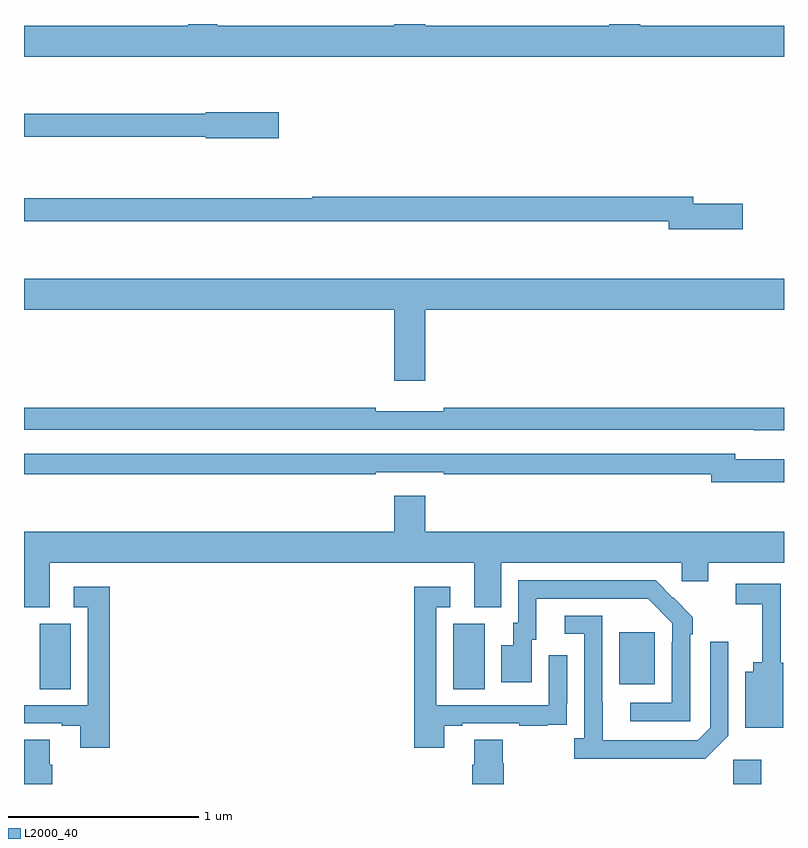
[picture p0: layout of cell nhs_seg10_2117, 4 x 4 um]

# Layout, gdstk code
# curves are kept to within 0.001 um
import gdstk
lib = gdstk.Library(unit=1e-6, precision=1e-09)
def R(c, l, rs):  # rectangles x0, y0, x1, y1
    for r in rs: c.add(gdstk.rectangle(r[:2], r[2:], *l))
def P(c, l, *ps):  # polygons
    for p in ps: c.add(gdstk.Polygon(p, *l))
L2000_40 = (2000, 40)

nhs_seg10_2117 = lib.new_cell('nhs_seg10_2117')
R(nhs_seg10_2117, L2000_40, [(226.734,1284.5,226.881,1284.628), (223.082,1285,223.246,1285.344), (225.26,1285,225.424,1285.344), (226.133,1285.025,226.321,1285.3)])
P(nhs_seg10_2117, L2000_40, [(227,1288.492),(226.244,1288.492),(226.244,1288.5),(226.079,1288.5),(226.079,1288.492),(225.112,1288.492),(225.112,1288.5),(224.948,1288.5),(224.948,1288.492),(224.018,1288.492),(224.018,1288.5),(223.865,1288.5),(223.865,1288.492),(223,1288.492),(223,1288.328),(227,1288.328)],
  [(224.341,1288.035),(223.956,1288.035),(223.956,1288.027),(223,1288.027),(223,1287.906),(223.956,1287.906),(223.956,1287.898),(224.341,1287.898)],
  [(226.783,1287.554),(226.522,1287.554),(226.522,1287.59),(224.518,1287.59),(224.518,1287.583),(223,1287.583),(223,1287.462),(226.394,1287.462),(226.394,1287.419),(226.783,1287.419)],
  [(225.112,1286.996),(227,1286.996),(227,1287.16),(223,1287.16),(223,1286.996),(224.948,1286.996),(224.948,1286.622),(225.112,1286.622)],
  [(227,1286.48),(225.208,1286.48),(225.208,1286.461),(224.852,1286.461),(224.852,1286.48),(223,1286.48),(223,1286.364),(226.84,1286.364),(226.84,1286.363),(227,1286.363)],
  [(227,1286.209),(226.744,1286.209),(226.744,1286.238),(223,1286.238),(223,1286.13),(224.852,1286.13),(224.852,1286.142),(225.208,1286.142),(225.208,1286.13),(226.616,1286.13),(226.616,1286.087),(227,1286.087)],
  [(223.135,1285.664),(225.371,1285.664),(225.371,1285.429),(225.511,1285.429),(225.511,1285.664),(226.461,1285.664),(226.461,1285.566),(226.6,1285.566),(226.6,1285.664),(227,1285.664),(227,1285.828),(225.112,1285.828),(225.112,1286.017),(224.948,1286.017),(224.948,1285.828),(223,1285.828),(223,1285.429),(223.135,1285.429)],
  [(226.506,1285.289),(226.521,1285.289),(226.521,1285.377),(226.324,1285.572),(225.6,1285.572),(225.6,1285.35),(225.575,1285.35),(225.575,1285.231),(225.512,1285.231),(225.512,1285.035),(225.673,1285.035),(225.673,1285.26),(225.697,1285.26),(225.697,1285.476),(226.285,1285.476),(226.413,1285.347),(226.413,1285.247),(226.41,1285.247),(226.41,1284.927),(226.191,1284.927),(226.191,1284.831),(226.506,1284.831)],
  [(226.996,1285.137),(226.983,1285.137),(226.983,1285.554),(226.746,1285.554),(226.746,1285.446),(226.886,1285.446),(226.886,1285.141),(226.838,1285.141),(226.838,1285.09),(226.796,1285.09),(226.796,1284.797),(226.996,1284.797)],
  [(223.451,1285.537),(223.263,1285.537),(223.263,1285.431),(223.335,1285.431),(223.335,1284.915),(223,1284.915),(223,1284.819),(223.199,1284.819),(223.199,1284.807),(223.295,1284.807),(223.295,1284.69),(223.451,1284.69)],
  [(225.211,1284.807),(225.307,1284.807),(225.307,1284.819),(225.607,1284.819),(225.607,1284.807),(225.755,1284.807),(225.755,1284.813),(225.857,1284.813),(225.857,1284.922),(225.858,1284.922),(225.858,1285.177),(225.762,1285.177),(225.762,1284.915),(225.171,1284.915),(225.171,1285.431),(225.244,1285.431),(225.244,1285.537),(225.055,1285.537),(225.055,1284.69),(225.211,1284.69)],
  [(226.707,1284.753),(226.707,1285.249),(226.611,1285.249),(226.611,1284.795),(226.545,1284.729),(226.045,1284.729),(226.044,1285.386),(225.846,1285.386),(225.846,1285.29),(225.948,1285.29),(225.948,1284.742),(225.897,1284.742),(225.897,1284.632),(226.586,1284.632)],
  [(225.524,1284.609),(225.519,1284.609),(225.519,1284.734),(225.371,1284.734),(225.371,1284.602),(225.359,1284.602),(225.359,1284.5),(225.524,1284.5)],
  [(223.148,1284.602),(223.135,1284.602),(223.135,1284.734),(223,1284.734),(223,1284.5),(223.148,1284.5)])

lib.write_gds('nhs_seg10_2117.gds')
